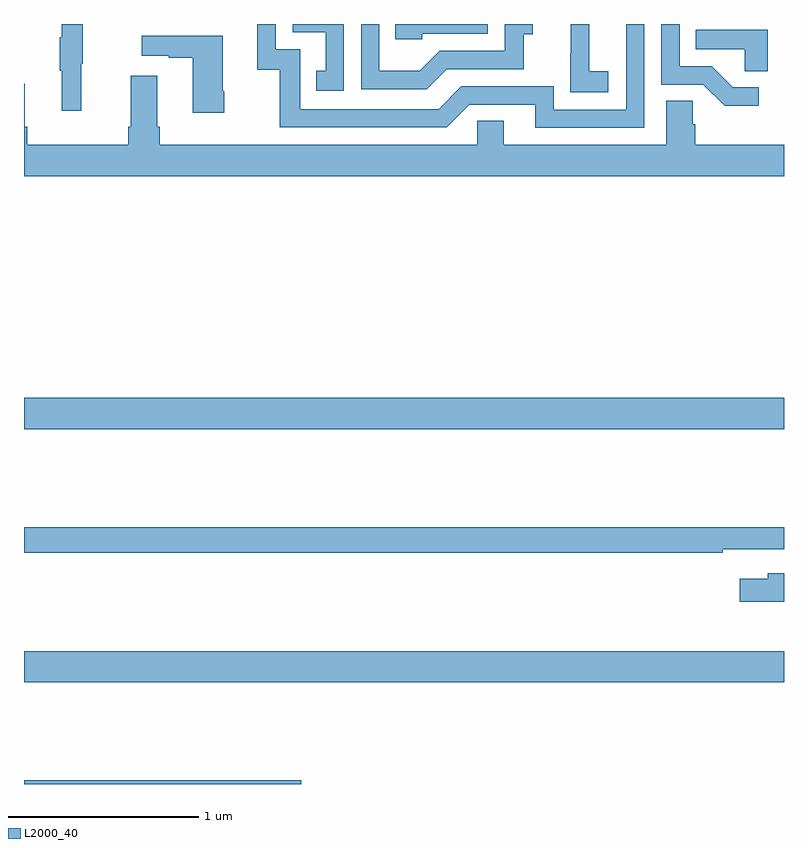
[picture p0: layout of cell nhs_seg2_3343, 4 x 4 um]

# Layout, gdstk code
import gdstk
lib = gdstk.Library(unit=1e-6, precision=1e-09)
def R(c, l, rs):  # rectangles x0, y0, x1, y1
    for r in rs: c.add(gdstk.rectangle(r[:2], r[2:], *l))
def P(c, l, *ps):  # polygons
    for p in ps: c.add(gdstk.Polygon(p, *l))
L2000_40 = (2000, 40)

nhs_seg2_3343 = lib.new_cell('nhs_seg2_3343')
R(nhs_seg2_3343, L2000_40, [(287,613.8,288.46,613.82), (287,614.336,291,614.5), (287,615.668,291,615.832)])
P(nhs_seg2_3343, L2000_40, [(290.074,617.551),(289.976,617.551),(289.976,617.78),(289.974,617.78),(289.974,617.8),(289.877,617.8),(289.877,617.647),(289.876,617.647),(289.876,617.441),(290.074,617.441)],
  [(289.095,617.748),(289.44,617.748),(289.44,617.8),(288.955,617.8),(288.955,617.721),(289.095,617.721)],
  [(290.866,617.466),(290.731,617.466),(290.62,617.577),(290.451,617.577),(290.451,617.8),(290.355,617.8),(290.355,617.481),(290.574,617.481),(290.687,617.369),(290.866,617.369)],
  [(287.3,617.592),(287.308,617.592),(287.308,617.8),(287.198,617.8),(287.198,617.729),(287.187,617.729),(287.187,617.555),(287.198,617.555),(287.198,617.343),(287.3,617.343)],
  [(289.225,617.562),(289.629,617.562),(289.629,617.747),(289.678,617.747),(289.678,617.8),(289.53,617.8),(289.53,617.658),(289.188,617.658),(289.084,617.554),(288.87,617.554),(288.87,617.8),(288.774,617.8),(288.774,617.457),(289.12,617.457)],
  [(288.684,617.8),(288.414,617.8),(288.414,617.757),(288.587,617.757),(288.587,617.553),(288.538,617.553),(288.538,617.448),(288.684,617.448)],
  [(290.265,617.8),(290.169,617.8),(290.169,617.349),(289.788,617.349),(289.788,617.472),(289.302,617.472),(289.182,617.352),(288.453,617.352),(288.453,617.667),(288.324,617.667),(288.324,617.8),(288.227,617.8),(288.227,617.559),(288.345,617.559),(288.345,617.256),(289.224,617.256),(289.344,617.376),(289.691,617.376),(289.691,617.253),(290.265,617.253)],
  [(290.914,617.77),(290.536,617.77),(290.536,617.666),(290.793,617.666),(290.793,617.551),(290.914,617.551)],
  [(288.054,617.446),(288.046,617.446),(288.046,617.737),(287.619,617.737),(287.619,617.633),(287.762,617.633),(287.762,617.623),(287.888,617.623),(287.888,617.334),(288.054,617.334)],
  [(287.005,617.26),(287.005,617.485),(287,617.485),(287,617),(291,617),(291,617.164),(290.534,617.164),(290.534,617.273),(290.52,617.273),(290.52,617.396),(290.381,617.396),(290.381,617.164),(289.525,617.164),(289.525,617.291),(289.386,617.291),(289.386,617.164),(287.714,617.164),(287.714,617.26),(287.701,617.26),(287.701,617.527),(287.561,617.527),(287.561,617.26),(287.549,617.26),(287.549,617.164),(287.018,617.164),(287.018,617.26)],
  [(290.678,615.036),(291,615.036),(291,615.152),(287,615.152),(287,615.016),(290.678,615.016)],
  [(291,614.91),(290.915,614.91),(290.915,614.881),(290.766,614.881),(290.766,614.759),(291,614.759)])

lib.write_gds('nhs_seg2_3343.gds')
